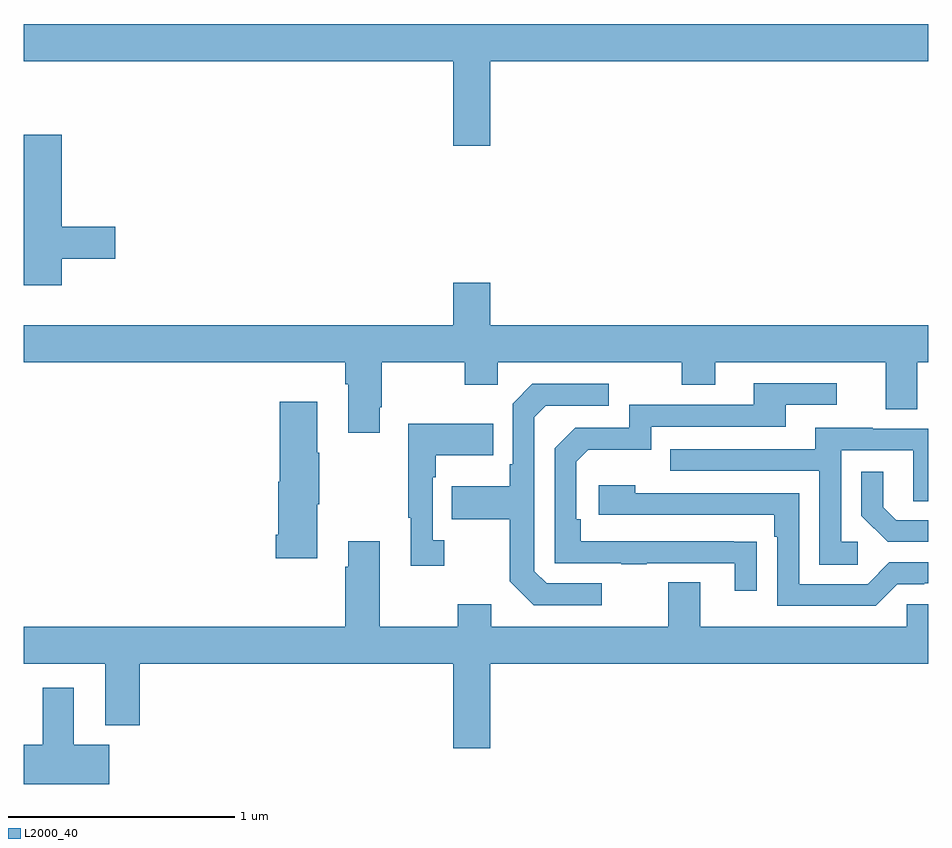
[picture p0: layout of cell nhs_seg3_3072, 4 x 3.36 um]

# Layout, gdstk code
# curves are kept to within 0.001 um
import gdstk
lib = gdstk.Library(unit=1e-6, precision=1e-09)
def P(c, l, *ps):  # polygons
    for p in ps: c.add(gdstk.Polygon(p, *l))
L2000_40 = (2000, 40)

nhs_seg3_3072 = lib.new_cell('nhs_seg3_3072')
P(nhs_seg3_3072, L2000_40, [(273.064,687.596),(275,687.596),(275,687.76),(271,687.76),(271,687.596),(272.9,687.596),(272.9,687.222),(273.064,687.222)],
  [(271.169,686.722),(271.405,686.722),(271.405,686.864),(271.169,686.864),(271.169,687.271),(271.001,687.271),(271.001,687.158),(271,687.158),(271,686.847),(271.001,686.847),(271.001,686.604),(271.169,686.604)],
  [(272.575,686.065),(272.583,686.065),(272.583,686.264),(272.95,686.264),(272.95,686.165),(273.096,686.165),(273.096,686.264),(273.91,686.264),(273.91,686.165),(274.057,686.165),(274.057,686.264),(274.811,686.264),(274.811,686.056),(274.951,686.056),(274.951,686.264),(275,686.264),(275,686.428),(273.064,686.428),(273.064,686.617),(272.9,686.617),(272.9,686.428),(271,686.428),(271,686.264),(272.423,686.264),(272.423,686.168),(272.435,686.168),(272.435,685.953),(272.575,685.953)],
  [(274.241,685.472),(273.464,685.473),(273.464,685.57),(273.444,685.57),(273.444,685.824),(273.497,685.877),(273.774,685.877),(273.774,685.98),(274.369,685.98),(274.369,686.076),(274.594,686.076),(274.594,686.172),(274.229,686.172),(274.229,686.076),(273.678,686.076),(273.678,685.974),(273.438,685.974),(273.348,685.884),(273.348,685.377),(273.643,685.377),(273.643,685.372),(273.755,685.372),(273.755,685.377),(274.145,685.377),(274.145,685.254),(274.241,685.254)],
  [(273.556,685.287),(273.312,685.287),(273.258,685.341),(273.258,686.022),(273.309,686.073),(273.586,686.073),(273.586,686.169),(273.249,686.169),(273.162,686.082),(273.162,685.813),(273.15,685.813),(273.15,685.717),(272.893,685.717),(272.893,685.57),(273.15,685.57),(273.15,685.297),(273.255,685.191),(273.556,685.191)],
  [(272.299,685.637),(272.307,685.637),(272.307,685.865),(272.299,685.865),(272.299,686.089),(272.132,686.089),(272.132,685.737),(272.126,685.737),(272.126,685.501),(272.114,685.501),(272.114,685.397),(272.299,685.397)],
  [(272.86,685.478),(272.808,685.478),(272.808,685.757),(272.821,685.757),(272.821,685.853),(273.077,685.853),(273.077,685.993),(272.7,685.993),(272.7,685.577),(272.711,685.577),(272.711,685.365),(272.86,685.365)],
  [(274.687,685.47),(274.614,685.47),(274.614,685.875),(274.932,685.875),(274.932,685.651),(275,685.651),(275,685.971),(274.753,685.971),(274.753,685.975),(274.499,685.975),(274.499,685.881),(273.859,685.881),(273.859,685.785),(274.518,685.785),(274.518,685.369),(274.687,685.369)],
  [(275,685.566),(274.858,685.566),(274.801,685.623),(274.801,685.78),(274.704,685.78),(274.704,685.586),(274.82,685.47),(275,685.47)],
  [(274.863,685.284),(274.982,685.284),(274.982,685.287),(275,685.287),(275,685.38),(274.827,685.38),(274.731,685.284),(274.428,685.284),(274.428,685.686),(273.704,685.686),(273.704,685.72),(273.543,685.72),(273.543,685.59),(274.319,685.59),(274.319,685.493),(274.332,685.493),(274.332,685.188),(274.767,685.188)],
  [(273.064,684.932),(275,684.932),(275,685.194),(274.905,685.194),(274.905,685.096),(273.991,685.096),(273.991,685.291),(273.851,685.291),(273.851,685.096),(273.067,685.096),(273.067,685.195),(272.92,685.195),(272.92,685.096),(272.575,685.096),(272.575,685.474),(272.435,685.474),(272.435,685.361),(272.423,685.361),(272.423,685.096),(271,685.096),(271,684.932),(271.361,684.932),(271.361,684.659),(271.514,684.659),(271.514,684.932),(272.9,684.932),(272.9,684.558),(273.064,684.558)],
  [(271.378,684.574),(271.222,684.574),(271.222,684.826),(271.085,684.826),(271.085,684.574),(271,684.574),(271,684.4),(271.378,684.4)])

lib.write_gds('nhs_seg3_3072.gds')
